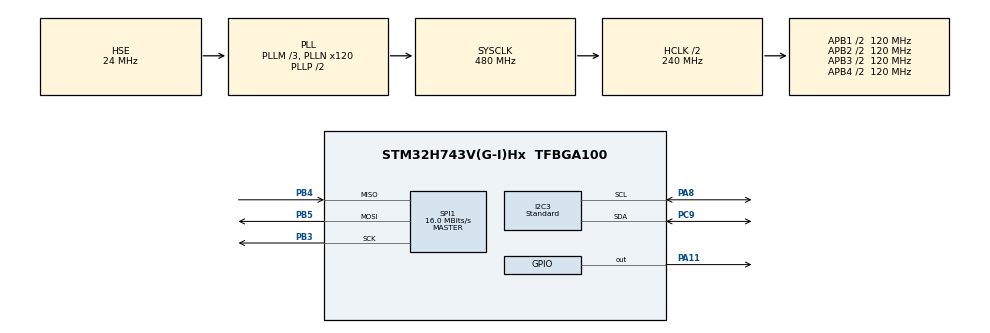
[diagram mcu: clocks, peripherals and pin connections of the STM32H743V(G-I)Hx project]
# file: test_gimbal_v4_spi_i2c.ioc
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CORTEX_M7.default_mode_Activation=1
Dma.I2C3_RX.2.Direction=DMA_PERIPH_TO_MEMORY
Dma.I2C3_RX.2.EventEnable=DISABLE
Dma.I2C3_RX.2.FIFOMode=DMA_FIFOMODE_DISABLE
Dma.I2C3_RX.2.Instance=DMA1_Stream2
Dma.I2C3_RX.2.MemDataAlignment=DMA_MDATAALIGN_BYTE
Dma.I2C3_RX.2.MemInc=DMA_MINC_ENABLE
Dma.I2C3_RX.2.Mode=DMA_NORMAL
Dma.I2C3_RX.2.PeriphDataAlignment=DMA_PDATAALIGN_BYTE
Dma.I2C3_RX.2.PeriphInc=DMA_PINC_DISABLE
Dma.I2C3_RX.2.Polarity=HAL_DMAMUX_REQ_GEN_RISING
Dma.I2C3_RX.2.Priority=DMA_PRIORITY_LOW
Dma.I2C3_RX.2.RequestNumber=1
Dma.I2C3_RX.2.SignalID=NONE
Dma.I2C3_RX.2.SyncEnable=DISABLE
Dma.I2C3_RX.2.SyncPolarity=HAL_DMAMUX_SYNC_NO_EVENT
Dma.I2C3_RX.2.SyncRequestNumber=1
Dma.I2C3_RX.2.SyncSignalID=NONE
Dma.Request0=SPI1_RX
Dma.Request1=SPI1_TX
Dma.Request2=I2C3_RX
Dma.SPI1_RX.0.Direction=DMA_PERIPH_TO_MEMORY
Dma.SPI1_RX.0.EventEnable=DISABLE
Dma.SPI1_RX.0.FIFOMode=DMA_FIFOMODE_DISABLE
Dma.SPI1_RX.0.Instance=DMA1_Stream0
Dma.SPI1_RX.0.MemDataAlignment=DMA_MDATAALIGN_BYTE
Dma.SPI1_RX.0.MemInc=DMA_MINC_ENABLE
Dma.SPI1_RX.0.Mode=DMA_NORMAL
Dma.SPI1_RX.0.PeriphDataAlignment=DMA_PDATAALIGN_BYTE
Dma.SPI1_RX.0.PeriphInc=DMA_PINC_DISABLE
Dma.SPI1_RX.0.Polarity=HAL_DMAMUX_REQ_GEN_RISING
Dma.SPI1_RX.0.Priority=DMA_PRIORITY_LOW
Dma.SPI1_RX.0.RequestNumber=1
Dma.SPI1_RX.0.SignalID=NONE
Dma.SPI1_RX.0.SyncEnable=DISABLE
Dma.SPI1_RX.0.SyncPolarity=HAL_DMAMUX_SYNC_NO_EVENT
Dma.SPI1_RX.0.SyncRequestNumber=1
Dma.SPI1_RX.0.SyncSignalID=NONE
Dma.SPI1_TX.1.Direction=DMA_MEMORY_TO_PERIPH
Dma.SPI1_TX.1.EventEnable=DISABLE
Dma.SPI1_TX.1.FIFOMode=DMA_FIFOMODE_DISABLE
Dma.SPI1_TX.1.Instance=DMA1_Stream1
Dma.SPI1_TX.1.MemDataAlignment=DMA_MDATAALIGN_BYTE
Dma.SPI1_TX.1.MemInc=DMA_MINC_ENABLE
Dma.SPI1_TX.1.Mode=DMA_NORMAL
Dma.SPI1_TX.1.PeriphDataAlignment=DMA_PDATAALIGN_BYTE
Dma.SPI1_TX.1.PeriphInc=DMA_PINC_DISABLE
Dma.SPI1_TX.1.Polarity=HAL_DMAMUX_REQ_GEN_RISING
Dma.SPI1_TX.1.Priority=DMA_PRIORITY_LOW
Dma.SPI1_TX.1.RequestNumber=1
Dma.SPI1_TX.1.SignalID=NONE
Dma.SPI1_TX.1.SyncEnable=DISABLE
Dma.SPI1_TX.1.SyncPolarity=HAL_DMAMUX_SYNC_NO_EVENT
Dma.SPI1_TX.1.SyncRequestNumber=1
Dma.SPI1_TX.1.SyncSignalID=NONE
I2C3.I2C_Speed_Mode=I2C_Standard
I2C3.Timing=0x307075B1
Mcu.Family=STM32H7
Mcu.Name=STM32H743V(G-I)Hx
Mcu.Package=TFBGA100
NVIC.DMA1_Stream0_IRQn=true\:0\:0\:false\:false\:true\:false\:true\:true
NVIC.DMA1_Stream1_IRQn=true\:0\:0\:false\:false\:true\:false\:true\:true
NVIC.DMA1_Stream2_IRQn=true\:0\:0\:false\:false\:true\:false\:true\:true
NVIC.PriorityGroup=NVIC_PRIORITYGROUP_4
NVIC.SPI1_IRQn=true\:0\:0\:false\:false\:true\:false\:true\:true
NVIC.TIM1_UP_IRQn=true\:0\:0\:false\:false\:true\:true\:true\:true
NVIC.TIM2_IRQn=true\:0\:0\:false\:false\:true\:true\:true\:true
PA11.PinState=GPIO_PIN_SET
PA11.Signal=GPIO_Output
PA8.Mode=I2C
PA8.Signal=I2C3_SCL
PB3\ (JTDO/TRACESWO).Mode=Full_Duplex_Master
PB3\ (JTDO/TRACESWO).Signal=SPI1_SCK
PB4\ (NJTRST).Mode=Full_Duplex_Master
PB4\ (NJTRST).Signal=SPI1_MISO
PB5.Mode=Full_Duplex_Master
PB5.Signal=SPI1_MOSI
PC9.Mode=I2C
PC9.Signal=I2C3_SDA
PH0-OSC_IN\ (PH0).Mode=HSE-External-Oscillator
PH0-OSC_IN\ (PH0).Signal=RCC_OSC_IN
PH1-OSC_OUT\ (PH1).Mode=HSE-External-Oscillator
PH1-OSC_OUT\ (PH1).Signal=RCC_OSC_OUT
ProjectManager.HeapSize=0x200
ProjectManager.StackSize=0x400
ProjectManager.TargetToolchain=STM32CubeIDE
RCC.ADCFreq_Value=240000000
RCC.APB1Freq_Value=120000000
RCC.APB2Freq_Value=120000000
RCC.APB3Freq_Value=120000000
RCC.APB4Freq_Value=120000000
RCC.CortexFreq_Value=480000000
RCC.D1PPRE=RCC_APB3_DIV2
RCC.D2PPRE1=RCC_APB1_DIV2
RCC.D2PPRE2=RCC_APB2_DIV2
RCC.D3PPRE=RCC_APB4_DIV2
RCC.DIVM1=3
RCC.DIVM2=3
RCC.DIVM3=3
RCC.DIVN1=120
RCC.DIVN2=60
RCC.DIVN3=60
RCC.DIVQ1=4
RCC.HCLKFreq_Value=240000000
RCC.HPRE=RCC_HCLK_DIV2
RCC.HSE_VALUE=24000000
RCC.PLL1_VCI_Range=RCC_PLL1VCIRANGE_3
RCC.PLL2FRACN=0
RCC.PLL3FRACN=0
RCC.PLLFRACN=0
RCC.PLLSourceVirtual=RCC_PLLSOURCE_HSE
RCC.SPI123CLockSelection=RCC_SPI123CLKSOURCE_CLKP
RCC.SYSCLKFreq_VALUE=480000000
RCC.SYSCLKSource=RCC_SYSCLKSOURCE_PLLCLK
RCC.USBFreq_Value=240000000
SPI1.BaudRatePrescaler=SPI_BAUDRATEPRESCALER_4
SPI1.CLKPhase=SPI_PHASE_2EDGE
SPI1.CLKPolarity=SPI_POLARITY_HIGH
SPI1.CalculateBaudRate=16.0 MBits/s
SPI1.DataSize=SPI_DATASIZE_8BIT
SPI1.Direction=SPI_DIRECTION_2LINES
SPI1.Mode=SPI_MODE_MASTER
SPI1.NSSPMode=SPI_NSS_PULSE_DISABLE
SPI1.VirtualType=VM_MASTER
TIM1.AutoReloadPreload=TIM_AUTORELOAD_PRELOAD_ENABLE
TIM1.Period=125-1
TIM1.Prescaler=200-1
TIM2.AutoReloadPreload=TIM_AUTORELOAD_PRELOAD_ENABLE
TIM2.Period=250-1
TIM2.Prescaler=200-1
VP_MEMORYMAP_VS_MEMORYMAP.Mode=CurAppReg
VP_TIM1_VS_ClockSourceINT.Mode=Internal
VP_TIM2_VS_ClockSourceINT.Mode=Internal
board=custom

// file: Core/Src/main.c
/* USER CODE BEGIN Header */
/**
  ******************************************************************************
  * @file           : main.c
  * @brief          : Main program body
  ******************************************************************************
  * @attention
  *
  * Copyright (c) 2026 STMicroelectronics.
  * All rights reserved.
  *
  * This software is licensed under terms that can be found in the LICENSE file
  * in the root directory of this software component.
  * If no LICENSE file comes with this software, it is provided AS-IS.
  *
  ******************************************************************************
  */
/* USER CODE END Header */
#include "main.h"

/* USER CODE BEGIN Includes */
#include "imu.h"
#include "icm42688.h"
/* USER CODE END Includes */

/* USER CODE BEGIN PTD */
#define AXIS 2
#define MEANSURE_FREQ	0
/* USER CODE END PTD */

/* USER CODE BEGIN PD */

imu_t imu1, imu2;
float imu_data[7];
float imu_data2[7];
volatile uint8_t imu1_req = 0;
volatile uint8_t imu2_req = 0;

#if MEANSURE_FREQ == 1
volatile uint32_t imu1_req_cnt = 0;
volatile uint32_t imu1_req_total    = 0;
volatile uint32_t imu1_accept_total = 0;
volatile uint32_t imu1_drop_total   = 0;
#endif

/* USER CODE END PD */

I2C_HandleTypeDef hi2c3;
DMA_HandleTypeDef hdma_i2c3_rx;

SPI_HandleTypeDef hspi1;
DMA_HandleTypeDef hdma_spi1_rx;
DMA_HandleTypeDef hdma_spi1_tx;

TIM_HandleTypeDef htim1;
TIM_HandleTypeDef htim2;

void SystemClock_Config(void);
void PeriphCommonClock_Config(void);
static void MPU_Config(void);
static void MX_GPIO_Init(void);
static void MX_DMA_Init(void);
static void MX_I2C3_Init(void);
static void MX_SPI1_Init(void);
static void MX_TIM1_Init(void);
static void MX_TIM2_Init(void);
/* USER CODE BEGIN PFP */
void HAL_SPI_TxRxCpltCallback(SPI_HandleTypeDef *hspi)
{
    if (hspi == &hspi1)
    {
    	icm42688_spi_dma_done(SPI_PORT_1);
    }
}

void HAL_TIM_PeriodElapsedCallback(TIM_HandleTypeDef *htim)
{
    if (htim == &htim1)
    {
    	imu1_req = 1;
#if MEANSURE_FREQ == 1
    	imu1_req_total++;
#endif
    }
#if AXIS!=1
    if (htim == &htim2)
    {
    	imu2_req = 1;
    }
#endif
}

#if MEANSURE_FREQ
void imu1_process(void)
{
    if (imu1_req_total == 0)
        return;

    if (imu1.ops->read(&imu1) == 0)
        imu1_accept_total++;
    else
        imu1_drop_total++;

    imu1_req_total--;
}
#endif

/* USER CODE END PFP */

int main(void)
{

  /* MPU Configuration--------------------------------------------------------*/
  MPU_Config();

  /* MCU Configuration--------------------------------------------------------*/

  /* Reset of all peripherals, Initializes the Flash interface and the Systick. */
  HAL_Init();

  /* Configure the system clock */
  SystemClock_Config();

  /* Configure the peripherals common clocks */
  PeriphCommonClock_Config();

  /* Initialize all configured peripherals */
  MX_GPIO_Init();
  MX_DMA_Init();
  MX_I2C3_Init();
  MX_SPI1_Init();
  MX_TIM1_Init();
  MX_TIM2_Init();
  /* USER CODE BEGIN 2 */
  icm42688_create_spi(&imu1, SPI_PORT_1);
  imu1.ops->init(&imu1);
#if AXIS!=1
  icm42688_create_i2c(&imu2, I2C_PORT_3);
  imu2.ops->init(&imu2);
#endif
  HAL_TIM_Base_Start_IT(&htim1);
  HAL_TIM_Base_Start_IT(&htim2);

#if MEANSURE_FREQ
  uint32_t t0 = HAL_GetTick();
  while (HAL_GetTick() - t0 < 1000)
  {
      imu1_process();

      if (imu1.ops->parse(&imu1, imu_data)){}
  }

  while(1) {};
#endif

  /* USER CODE END 2 */

  /* Infinite loop */
  while (1)
  {

    /* USER CODE BEGIN 3 */
	if (imu1_req == 1)
	{
		imu1_req = 0;
		imu1.ops->read(&imu1);
	}
#if AXIS!=1
	if (imu2_req == 1)
	{
		imu2_req = 0;
		imu2.ops->read(&imu2);
	}

    imu2.ops->parse(&imu2, imu_data2);
#endif
    imu1.ops->parse(&imu1, imu_data);
  }
  /* USER CODE END 3 */
}

void SystemClock_Config(void)
{
  RCC_OscInitTypeDef RCC_OscInitStruct = {0};
  RCC_ClkInitTypeDef RCC_ClkInitStruct = {0};

  /** Supply configuration update enable
  */
  HAL_PWREx_ConfigSupply(PWR_LDO_SUPPLY);

  /** Configure the main internal regulator output voltage
  */
  __HAL_PWR_VOLTAGESCALING_CONFIG(PWR_REGULATOR_VOLTAGE_SCALE0);

  while(!__HAL_PWR_GET_FLAG(PWR_FLAG_VOSRDY)) {}

  /** Initializes the RCC Oscillators according to the specified parameters
  * in the RCC_OscInitTypeDef structure.
  */
  RCC_OscInitStruct.OscillatorType = RCC_OSCILLATORTYPE_HSI|RCC_OSCILLATORTYPE_HSE;
  RCC_OscInitStruct.HSEState = RCC_HSE_ON;
  RCC_OscInitStruct.HSIState = RCC_HSI_DIV1;
  RCC_OscInitStruct.HSICalibrationValue = RCC_HSICALIBRATION_DEFAULT;
  RCC_OscInitStruct.PLL.PLLState = RCC_PLL_ON;
  RCC_OscInitStruct.PLL.PLLSource = RCC_PLLSOURCE_HSE;
  RCC_OscInitStruct.PLL.PLLM = 3;
  RCC_OscInitStruct.PLL.PLLN = 120;
  RCC_OscInitStruct.PLL.PLLP = 2;
  RCC_OscInitStruct.PLL.PLLQ = 4;
  RCC_OscInitStruct.PLL.PLLR = 2;
  RCC_OscInitStruct.PLL.PLLRGE = RCC_PLL1VCIRANGE_3;
  RCC_OscInitStruct.PLL.PLLVCOSEL = RCC_PLL1VCOWIDE;
  RCC_OscInitStruct.PLL.PLLFRACN = 0;
  if (HAL_RCC_OscConfig(&RCC_OscInitStruct) != HAL_OK)
  {
    Error_Handler();
  }

  /** Initializes the CPU, AHB and APB buses clocks
  */
  RCC_ClkInitStruct.ClockType = RCC_CLOCKTYPE_HCLK|RCC_CLOCKTYPE_SYSCLK
                              |RCC_CLOCKTYPE_PCLK1|RCC_CLOCKTYPE_PCLK2
                              |RCC_CLOCKTYPE_D3PCLK1|RCC_CLOCKTYPE_D1PCLK1;
  RCC_ClkInitStruct.SYSCLKSource = RCC_SYSCLKSOURCE_PLLCLK;
  RCC_ClkInitStruct.SYSCLKDivider = RCC_SYSCLK_DIV1;
  RCC_ClkInitStruct.AHBCLKDivider = RCC_HCLK_DIV2;
  RCC_ClkInitStruct.APB3CLKDivider = RCC_APB3_DIV2;
  RCC_ClkInitStruct.APB1CLKDivider = RCC_APB1_DIV2;
  RCC_ClkInitStruct.APB2CLKDivider = RCC_APB2_DIV2;
  RCC_ClkInitStruct.APB4CLKDivider = RCC_APB4_DIV2;

  if (HAL_RCC_ClockConfig(&RCC_ClkInitStruct, FLASH_LATENCY_4) != HAL_OK)
  {
    Error_Handler();
  }
}

void PeriphCommonClock_Config(void)
{
  RCC_PeriphCLKInitTypeDef PeriphClkInitStruct = {0};

  /** Initializes the peripherals clock
  */
  PeriphClkInitStruct.PeriphClockSelection = RCC_PERIPHCLK_CKPER;
  PeriphClkInitStruct.CkperClockSelection = RCC_CLKPSOURCE_HSI;
  if (HAL_RCCEx_PeriphCLKConfig(&PeriphClkInitStruct) != HAL_OK)
  {
    Error_Handler();
  }
}

static void MX_I2C3_Init(void)
{

  hi2c3.Instance = I2C3;
  hi2c3.Init.Timing = 0x307075B1;
  hi2c3.Init.OwnAddress1 = 0;
  hi2c3.Init.AddressingMode = I2C_ADDRESSINGMODE_7BIT;
  hi2c3.Init.DualAddressMode = I2C_DUALADDRESS_DISABLE;
  hi2c3.Init.OwnAddress2 = 0;
  hi2c3.Init.OwnAddress2Masks = I2C_OA2_NOMASK;
  hi2c3.Init.GeneralCallMode = I2C_GENERALCALL_DISABLE;
  hi2c3.Init.NoStretchMode = I2C_NOSTRETCH_DISABLE;
  if (HAL_I2C_Init(&hi2c3) != HAL_OK)
  {
    Error_Handler();
  }

  /** Configure Analogue filter
  */
  if (HAL_I2CEx_ConfigAnalogFilter(&hi2c3, I2C_ANALOGFILTER_ENABLE) != HAL_OK)
  {
    Error_Handler();
  }

  /** Configure Digital filter
  */
  if (HAL_I2CEx_ConfigDigitalFilter(&hi2c3, 0) != HAL_OK)
  {
    Error_Handler();
  }

}

static void MX_SPI1_Init(void)
{

  /* SPI1 parameter configuration*/
  hspi1.Instance = SPI1;
  hspi1.Init.Mode = SPI_MODE_MASTER;
  hspi1.Init.Direction = SPI_DIRECTION_2LINES;
  hspi1.Init.DataSize = SPI_DATASIZE_8BIT;
  hspi1.Init.CLKPolarity = SPI_POLARITY_HIGH;
  hspi1.Init.CLKPhase = SPI_PHASE_2EDGE;
  hspi1.Init.NSS = SPI_NSS_SOFT;
  hspi1.Init.BaudRatePrescaler = SPI_BAUDRATEPRESCALER_4;
  hspi1.Init.FirstBit = SPI_FIRSTBIT_MSB;
  hspi1.Init.TIMode = SPI_TIMODE_DISABLE;
  hspi1.Init.CRCCalculation = SPI_CRCCALCULATION_DISABLE;
  hspi1.Init.CRCPolynomial = 0x0;
  hspi1.Init.NSSPMode = SPI_NSS_PULSE_DISABLE;
  hspi1.Init.NSSPolarity = SPI_NSS_POLARITY_LOW;
  hspi1.Init.FifoThreshold = SPI_FIFO_THRESHOLD_01DATA;
  hspi1.Init.TxCRCInitializationPattern = SPI_CRC_INITIALIZATION_ALL_ZERO_PATTERN;
  hspi1.Init.RxCRCInitializationPattern = SPI_CRC_INITIALIZATION_ALL_ZERO_PATTERN;
  hspi1.Init.MasterSSIdleness = SPI_MASTER_SS_IDLENESS_00CYCLE;
  hspi1.Init.MasterInterDataIdleness = SPI_MASTER_INTERDATA_IDLENESS_00CYCLE;
  hspi1.Init.MasterReceiverAutoSusp = SPI_MASTER_RX_AUTOSUSP_DISABLE;
  hspi1.Init.MasterKeepIOState = SPI_MASTER_KEEP_IO_STATE_DISABLE;
  hspi1.Init.IOSwap = SPI_IO_SWAP_DISABLE;
  if (HAL_SPI_Init(&hspi1) != HAL_OK)
  {
    Error_Handler();
  }

}

static void MX_TIM1_Init(void)
{

  TIM_ClockConfigTypeDef sClockSourceConfig = {0};
  TIM_MasterConfigTypeDef sMasterConfig = {0};

  htim1.Instance = TIM1;
  htim1.Init.Prescaler = 200-1;
  htim1.Init.CounterMode = TIM_COUNTERMODE_UP;
  htim1.Init.Period = 125-1;
  htim1.Init.ClockDivision = TIM_CLOCKDIVISION_DIV1;
  htim1.Init.RepetitionCounter = 0;
  htim1.Init.AutoReloadPreload = TIM_AUTORELOAD_PRELOAD_ENABLE;
  if (HAL_TIM_Base_Init(&htim1) != HAL_OK)
  {
    Error_Handler();
  }
  sClockSourceConfig.ClockSource = TIM_CLOCKSOURCE_INTERNAL;
  if (HAL_TIM_ConfigClockSource(&htim1, &sClockSourceConfig) != HAL_OK)
  {
    Error_Handler();
  }
  sMasterConfig.MasterOutputTrigger = TIM_TRGO_RESET;
  sMasterConfig.MasterOutputTrigger2 = TIM_TRGO2_RESET;
  sMasterConfig.MasterSlaveMode = TIM_MASTERSLAVEMODE_DISABLE;
  if (HAL_TIMEx_MasterConfigSynchronization(&htim1, &sMasterConfig) != HAL_OK)
  {
    Error_Handler();
  }

}

static void MX_TIM2_Init(void)
{

  TIM_ClockConfigTypeDef sClockSourceConfig = {0};
  TIM_MasterConfigTypeDef sMasterConfig = {0};

  htim2.Instance = TIM2;
  htim2.Init.Prescaler = 200-1;
  htim2.Init.CounterMode = TIM_COUNTERMODE_UP;
  htim2.Init.Period = 250-1;
  htim2.Init.ClockDivision = TIM_CLOCKDIVISION_DIV1;
  htim2.Init.AutoReloadPreload = TIM_AUTORELOAD_PRELOAD_ENABLE;
  if (HAL_TIM_Base_Init(&htim2) != HAL_OK)
  {
    Error_Handler();
  }
  sClockSourceConfig.ClockSource = TIM_CLOCKSOURCE_INTERNAL;
  if (HAL_TIM_ConfigClockSource(&htim2, &sClockSourceConfig) != HAL_OK)
  {
    Error_Handler();
  }
  sMasterConfig.MasterOutputTrigger = TIM_TRGO_RESET;
  sMasterConfig.MasterSlaveMode = TIM_MASTERSLAVEMODE_DISABLE;
  if (HAL_TIMEx_MasterConfigSynchronization(&htim2, &sMasterConfig) != HAL_OK)
  {
    Error_Handler();
  }

}

static void MX_DMA_Init(void)
{

  /* DMA controller clock enable */
  __HAL_RCC_DMA1_CLK_ENABLE();

  /* DMA interrupt init */
  /* DMA1_Stream0_IRQn interrupt configuration */
  HAL_NVIC_SetPriority(DMA1_Stream0_IRQn, 0, 0);
  HAL_NVIC_EnableIRQ(DMA1_Stream0_IRQn);
  /* DMA1_Stream1_IRQn interrupt configuration */
  HAL_NVIC_SetPriority(DMA1_Stream1_IRQn, 0, 0);
  HAL_NVIC_EnableIRQ(DMA1_Stream1_IRQn);
  /* DMA1_Stream2_IRQn interrupt configuration */
  HAL_NVIC_SetPriority(DMA1_Stream2_IRQn, 0, 0);
  HAL_NVIC_EnableIRQ(DMA1_Stream2_IRQn);

}

static void MX_GPIO_Init(void)
{
  GPIO_InitTypeDef GPIO_InitStruct = {0};

  /* GPIO Ports Clock Enable */
  __HAL_RCC_GPIOB_CLK_ENABLE();
  __HAL_RCC_GPIOH_CLK_ENABLE();
  __HAL_RCC_GPIOA_CLK_ENABLE();
  __HAL_RCC_GPIOC_CLK_ENABLE();

  /*Configure GPIO pin Output Level */
  HAL_GPIO_WritePin(GPIOA, GPIO_PIN_11, GPIO_PIN_SET);

  /*Configure GPIO pin : PA11 */
  GPIO_InitStruct.Pin = GPIO_PIN_11;
  GPIO_InitStruct.Mode = GPIO_MODE_OUTPUT_PP;
  GPIO_InitStruct.Pull = GPIO_NOPULL;
  GPIO_InitStruct.Speed = GPIO_SPEED_FREQ_LOW;
  HAL_GPIO_Init(GPIOA, &GPIO_InitStruct);

}

 /* MPU Configuration */

void MPU_Config(void)
{
  MPU_Region_InitTypeDef MPU_InitStruct = {0};

  /* Disables the MPU */
  HAL_MPU_Disable();

  /** Initializes and configures the Region and the memory to be protected
  */
  MPU_InitStruct.Enable = MPU_REGION_ENABLE;
  MPU_InitStruct.Number = MPU_REGION_NUMBER0;
  MPU_InitStruct.BaseAddress = 0x0;
  MPU_InitStruct.Size = MPU_REGION_SIZE_4GB;
  MPU_InitStruct.SubRegionDisable = 0x87;
  MPU_InitStruct.TypeExtField = MPU_TEX_LEVEL0;
  MPU_InitStruct.AccessPermission = MPU_REGION_NO_ACCESS;
  MPU_InitStruct.DisableExec = MPU_INSTRUCTION_ACCESS_DISABLE;
  MPU_InitStruct.IsShareable = MPU_ACCESS_SHAREABLE;
  MPU_InitStruct.IsCacheable = MPU_ACCESS_NOT_CACHEABLE;
  MPU_InitStruct.IsBufferable = MPU_ACCESS_NOT_BUFFERABLE;

  HAL_MPU_ConfigRegion(&MPU_InitStruct);
  /* Enables the MPU */
  HAL_MPU_Enable(MPU_PRIVILEGED_DEFAULT);

}

void Error_Handler(void)
{
  __disable_irq();
  while (1)
  {
  }
}
